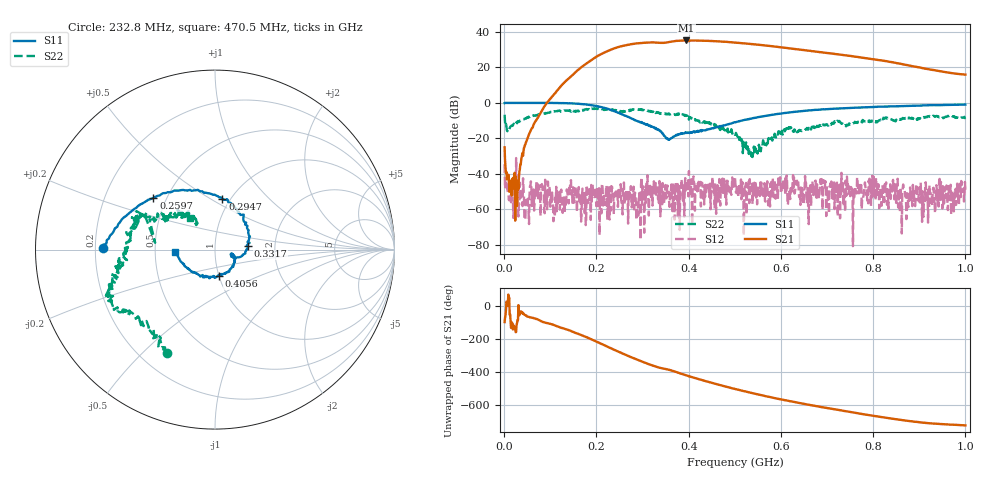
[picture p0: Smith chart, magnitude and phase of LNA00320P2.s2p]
! Created with skrf 1.9.0 (http://scikit-rf.org).
# Hz S RI R 50.0
!freq ReS11 ImS11 ReS21 ImS21 ReS12 ImS12 ReS22 ImS22
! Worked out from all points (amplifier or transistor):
!   1001 points, 1 MHz to 1 GHz, reference 50 ohm
!   highest |S21| = 35.2 dB at 394.6 MHz (marker M1)
!   |S21| within 3 dB of that: 258.5 MHz to 571.8 MHz (313.4 MHz wide, 75.5 % of centre)
!   unconditionally stable (mu >= 1): 26.44 MHz to 74.4 MHz; 222 MHz to 297.6 MHz; 310.8 MHz to end of sweep (the widest 3 of 32)
!   at 166.8 MHz: K = 9.51, MAG = 30.7 dB, |S12| = -66.9 dB
!   at 500.5 MHz: K = 1.28, MAG = 34.8 dB, |S12| = -41.8 dB
!   at 1 GHz: K = 3.65, MAG = 24.0 dB, |S12| = -49.2 dB
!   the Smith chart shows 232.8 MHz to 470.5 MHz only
!   S11 on the Smith chart (normalised r, x): 232.8 MHz: 0.23, +0.01; 259.7 MHz: 0.42, +0.30; 294.7 MHz: 0.92, +0.56; 331.7 MHz: 1.45, +0.05; 405.6 MHz: 0.99, -0.30; 470.5 MHz: 0.63, -0.02
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1000000  0.9845 0.0031  -0.00832 -0.0552  -0.0138 0.0124  0.3248 0.3299
1.08892e8  0.5112 -0.852  -0.8182 -1.587  0.000733 -0.00066  0.4235 -0.3694
1.67833e8  -0.2453 -0.8932  -10.22 -0.5637  0.000415 0.000677  0.0481 -0.6326
2.05795e8  -0.6489 -0.4353  -16.24 14.95  0.00328 -0.00218  -0.1726 -0.6624
2.32768e8  -0.6263 0.00718  -6.853 31.49  -0.0012 0.0024  -0.2655 -0.5777
2.59741e8  -0.3432 0.2869  14.96 38.09  -0.00211 -0.00527  -0.4207 -0.3925
2.94706e8  0.0409 0.2803  42.56 23.25  -0.00185 -0.00251  -0.5919 -0.2576
3.13687e8  0.1603 0.1575  49.68 6.977  0.000113 -0.000658  -0.5684 -0.1735
3.31669e8  0.1825 0.0181  49.21 -7.518  -0.0037 0.000869  -0.5191 -0.0631
3.34666e8  0.1763 -0.00159  48.7 -9.803  -0.00399 3.83e-05  -0.5346 -0.0479
3.68632e8  0.106 -0.0397  45.21 -31.38  0.00115 0.00171  -0.4456 0.1509
3.94606e8  0.0707 -0.1272  29.83 -49.09  0.00037 0.00543  -0.4073 0.1917
4.05595e8  0.0195 -0.1476  21.25 -53.27  0.0057 0.00413  -0.3126 0.1865
4.37563e8  -0.1144 -0.1291  -4.514 -55.96  0.00248 0.00165  -0.1832 0.2058
4.7053e8  -0.2235 -0.0136  -26.05 -46.83  0.00265 0.0062  -0.1379 0.1776
5.005e8  -0.2513 0.1365  -38.97 -31.85  0.0062 0.00523  -0.0552 0.1126
5.4046e8  -0.1759 0.3288  -43.75 -9.92  0.00213 0.00132  -0.0506 0.00633
5.88412e8  0.0228 0.475  -36.78 11.24  0.000883 -0.00178  -0.0877 -0.0764
6.67333e8  0.3911 0.4821  -14.51 24.62  0.00117 -0.00345  -0.1992 -0.0706
7.55245e8  0.6731 0.2696  4.041 20.16  -0.00263 -0.00253  -0.2601 -0.000138
8.34166e8  0.7887 0.0197  10.53 9.993  0.000292 -0.00343  -0.3531 -0.009
1e9  0.7277 -0.5189  6.278 -0.023  -0.0018 0.00298  -0.2269 0.3058
